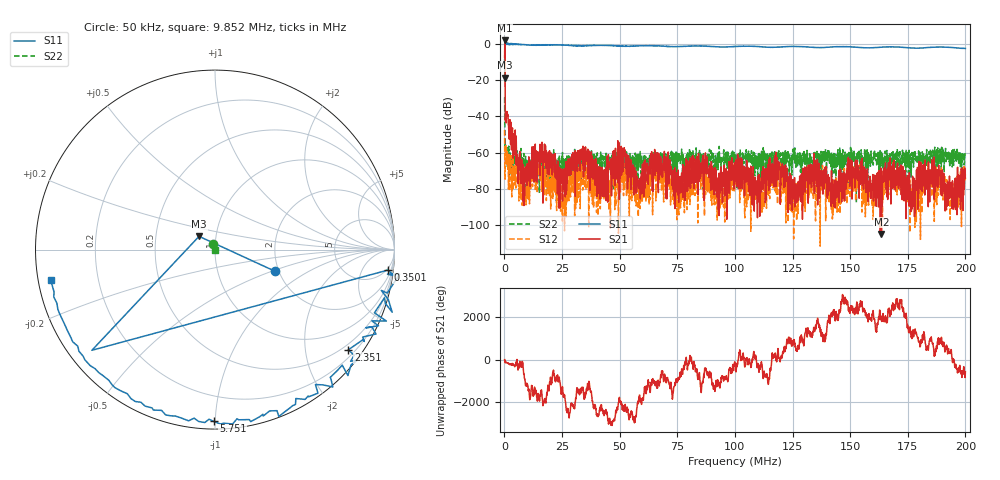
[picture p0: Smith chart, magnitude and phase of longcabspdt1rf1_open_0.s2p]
! 26-Feb-26 11:01:57 AM
! E:\VNA_MEASUREMENTS\LONGCAB_SPDT1_OPENSHORT\LONGCABSPDT1RF1_OPEN_0.S2P
! CHANNEL.1
! TR.MEASUREMENT
! CORRECTED.DATA
# GHZ S RI R 50.0
! FREQ.GHZ  S11RE  S11IM  S21RE  S21IM  S12RE  S12IM  S22RE  S22IM
!; PortSelection: Port_12
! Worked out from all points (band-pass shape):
!   2000 points, 50 kHz to 200 MHz, reference 50 ohm
!   highest |S21| = 1.78 dB at 150 kHz (marker M1); lowest = -105.0 dB at 163.6 MHz (marker M2)
!   |S21| within 3 dB of the highest: 117.9 kHz to 251 kHz (133.1 kHz wide, 72.2 % of centre)
!   lowest |S11| = -18.7 dB at 150 kHz (marker M3), VSWR 1.26, Z = 41.4 + j6.2 ohm
!   |S11| at or under -10 dB: 60.8 kHz to 199.5 kHz (138.7 kHz wide, 107 % of centre)
!   |S22| runs from -87.5 to -29.7 dB; largest |S21 - S12| = 1.2
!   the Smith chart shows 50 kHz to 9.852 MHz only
!   S11 on the Smith chart (normalised r, x): 50 kHz: 1.91, -0.53; 350.1 kHz: 4, -16; 2.351 MHz: 0.36, -2.95; 5.751 MHz: 0.04, -0.99; 9.852 MHz: 0.04, -0.09
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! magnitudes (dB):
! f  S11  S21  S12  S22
! 50 kHz  -8.9  -7.6  -47.6  -29.7
! 150 kHz  -18.7  1.8  -71.4  -46.1
! 350.1 kHz  -0.3  -42.3  -60.2  -55.5
! 2.351 MHz  -0.6  -41.9  -65.5  -61.8
! 5.751 MHz  -0.4  -64.0  -74.4  -65.1
! 9.852 MHz  -0.6  -66.1  -77.3  -70.0
! 16.85 MHz  -0.7  -63.1  -72.1  -64.9
! 26.06 MHz  -0.8  -72.5  -103.2  -72.2
! 33.46 MHz  -1.1  -62.7  -74.0  -61.3
! 40.66 MHz  -0.9  -70.5  -81.8  -73.2
! 51.36 MHz  -1.5  -70.7  -66.6  -63.4
! 57.96 MHz  -1.3  -76.5  -87.2  -67.4
! 66.77 MHz  -1.2  -82.1  -63.9  -61.7
! 76.37 MHz  -1.5  -73.3  -90.5  -64.2
! 82.67 MHz  -1.2  -69.1  -83.7  -65.9
! 100.1 MHz  -1.5  -73.7  -73.7  -61.3
! 118.5 MHz  -1.9  -73.7  -88.4  -69.5
! 126.3 MHz  -1.5  -86.8  -88.6  -62.8
! 133.4 MHz  -2.0  -66.7  -71.8  -66.9
! 163.6 MHz  -1.9  -105.0  -72.8  -60.0
! 166.7 MHz  -1.7  -75.2  -83.3  -64.6
! 200 MHz  -2.6  -74.0  -71.3  -61.3
